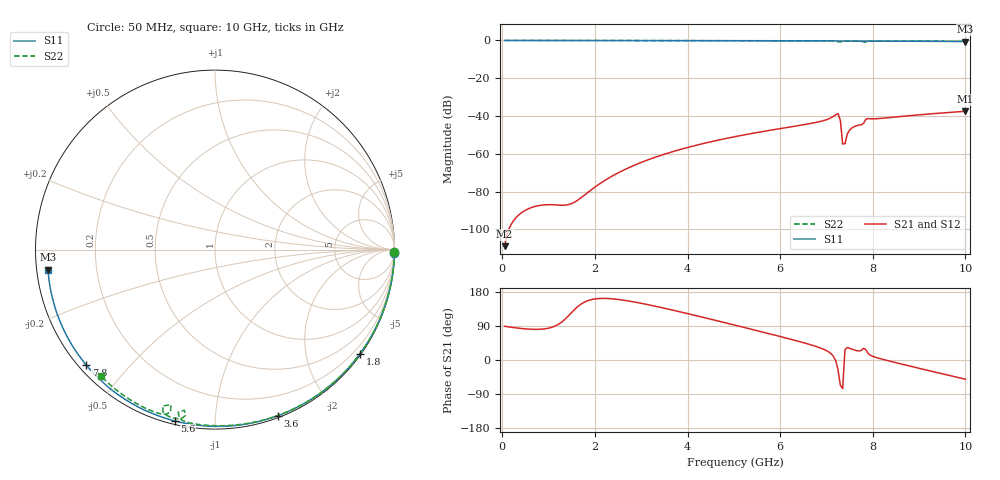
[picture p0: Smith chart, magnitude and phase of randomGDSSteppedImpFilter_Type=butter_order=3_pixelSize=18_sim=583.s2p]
! freq	dB(S11)	phase(S11)	dB(S12)	phase(S12)
!  dB(S21)	phase(S21)	dB(S22)	phase(S22)
!S-par simulation data
#  GHz  S  DB  R 50
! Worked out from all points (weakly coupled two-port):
!   200 points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, 50 MHz to 10 GHz, reference 50 ohm
!   highest |S21| = -37.51 dB at 10 GHz (marker M1); lowest = -108.9 dB at 50 MHz (marker M2)
!   lowest |S11| = -0.6 dB at 10 GHz (marker M3), VSWR 30.83, Z = 1.63 - j3 ohm
!   |S11| at or under -10 dB: nowhere
!   |S22| runs from -0.9 to 0.0 dB; largest |S21 - S12| = 0
!   S11 on the Smith chart (normalised r, x): 50 MHz: open; 1.8 GHz: 0.03, -3.11; 3.6 GHz: 0.02, -1.45; 5.6 GHz: 0.02, -0.79; 7.8 GHz: 0.02, -0.38; 10 GHz: 0.03, -0.06
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0.05  -0.00 -1.0  -108.91 89.0  -108.91 89.0  -0.00 -0.8
1.75  -0.04 -34.7  -82.33 151.1  -82.33 151.1  -0.03 -26.4
1.8  -0.05 -35.7  -81.37 154.2  -81.37 154.2  -0.03 -27.1
1.9  -0.05 -37.6  -79.47 158.6  -79.47 158.6  -0.04 -28.6
2.6  -0.07 -50.9  -68.87 158.2  -68.87 158.2  -0.05 -38.9
3.4  -0.09 -65.6  -61.02 139.3  -61.02 139.3  -0.07 -50.3
3.6  -0.09 -69.2  -59.46 133.8  -59.46 133.8  -0.07 -53.1
5.05  -0.14 -94.2  -50.81 91.2  -50.81 91.2  -0.11 -72.8
5.6  -0.17 -103.3  -48.32 74.4  -48.32 74.4  -0.13 -80.0
6.7  -0.23 -120.9  -43.75 38.7  -43.75 38.7  -0.18 -94.2
7  -0.25 -125.6  -41.95 24.8  -41.95 24.8  -0.21 -98.3
7.25  -0.28 -129.6  -38.74 -26.1  -38.74 -26.1  -0.64 -102.7
7.3  -0.29 -130.4  -42.29 -66.7  -42.29 -66.7  -0.81 -100.8
7.35  -0.29 -131.1  -54.80 -75.5  -54.80 -75.5  -0.54 -100.1
7.4  -0.29 -131.9  -54.68 27.5  -54.68 27.5  -0.39 -101.1
7.45  -0.30 -132.6  -49.54 32.8  -49.54 32.8  -0.33 -102.0
7.5  -0.30 -133.4  -47.44 30.7  -47.44 30.7  -0.31 -102.9
7.8  -0.32 -138.1  -43.90 30.5  -43.90 30.5  -0.74 -108.5
7.85  -0.32 -138.9  -41.75 27.5  -41.75 27.5  -0.93 -105.9
7.9  -0.33 -139.7  -41.35 17.2  -41.35 17.2  -0.56 -105.3
8.35  -0.37 -146.7  -40.85 -2.4  -40.85 -2.4  -0.31 -112.5
10  -0.56 -173.1  -37.51 -50.7  -37.51 -50.7  -0.46 -132.0
